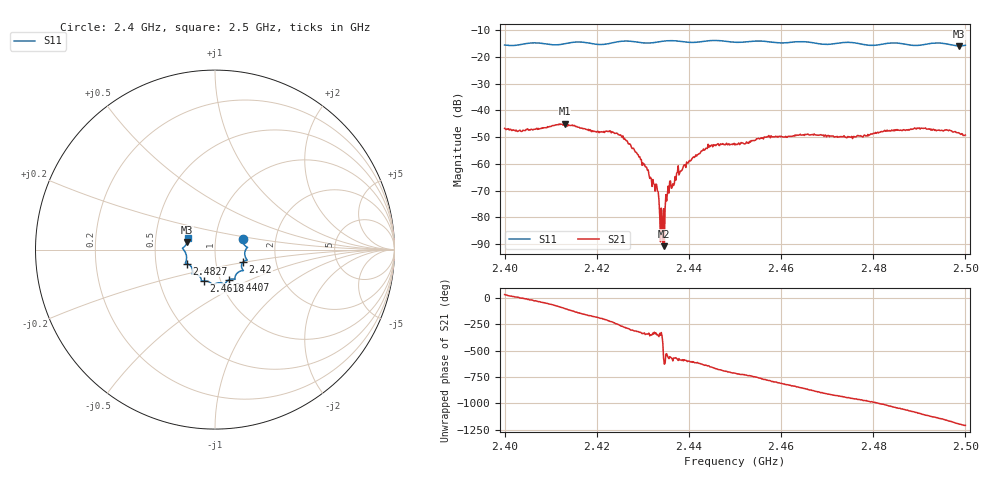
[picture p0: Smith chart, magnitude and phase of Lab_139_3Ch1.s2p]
# Hz S RI R 50
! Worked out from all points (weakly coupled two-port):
!   601 points, 2.4 GHz to 2.5 GHz, reference 50 ohm
!   highest |S21| = -45.03 dB at 2.413 GHz (marker M1); lowest = -90.8 dB at 2.4347 GHz (marker M2)
!   lowest |S11| = -15.9 dB at 2.4987 GHz (marker M3), VSWR 1.38, Z = 36.5 + j3.24 ohm
!   |S11| at or under -10 dB: start of sweep to end of sweep
!   S12 and S22 are empty: the file has one direction only
!   S11 on the Smith chart (normalised r, x): 2.4 GHz: 1.35, +0.17; 2.42 GHz: 1.36, -0.19; 2.4407 GHz: 1.10, -0.38; 2.4618 GHz: 0.83, -0.30; 2.4827 GHz: 0.72, -0.12; 2.5 GHz: 0.73, +0.09
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2.4e9  0.1544 0.0612  0.00381 0.00258  0 0  0 0
2.413e9  0.1698 -0.0425  -0.000798 -0.00555  0 0  0 0
2.416667e9  0.1789 -0.0585  -0.00393 -0.00246  0 0  0 0
2.42e9  0.1564 -0.069  -0.0039 8.32e-05  0 0  0 0
2.426167e9  0.1583 -0.1169  0.000428 0.00282  0 0  0 0
2.430667e9  0.1271 -0.1282  0.000838 0.000251  0 0  0 0
2.432833e9  0.1129 -0.1486  0.000365 0.000207  0 0  0 0
2.433333e9  0.1117 -0.153  0.000299 2.01e-05  0 0  0 0
2.434167e9  0.1111 -0.1595  8.43e-05 5.41e-07  0 0  0 0
2.434667e9  0.1112 -0.1623  -7.14e-07 2.89e-05  0 0  0 0
2.4355e9  0.1115 -0.1653  -0.000347 0.000163  0 0  0 0
2.437833e9  0.1055 -0.1644  -0.000506 0.000358  0 0  0 0
2.440667e9  0.079 -0.1675  -0.000559 0.00112  0 0  0 0
2.4445e9  0.0546 -0.1924  0.000808 0.00205  0 0  0 0
2.45e9  0.0269 -0.1848  0.00223 0.000255  0 0  0 0
2.461833e9  -0.0616 -0.1749  -0.00108 -0.00307  0 0  0 0
2.466667e9  -0.0758 -0.168  -0.00323 -0.00134  0 0  0 0
2.4755e9  -0.1262 -0.134  -0.00171 0.00242  0 0  0 0
2.482667e9  -0.158 -0.0778  0.00173 0.00367  0 0  0 0
2.483333e9  -0.162 -0.0768  0.00234 0.0034  0 0  0 0
2.498667e9  -0.1541 0.0433  -0.00181 -0.00328  0 0  0 0
2.5e9  -0.1511 0.063  -0.00227 -0.00259  0 0  0 0
